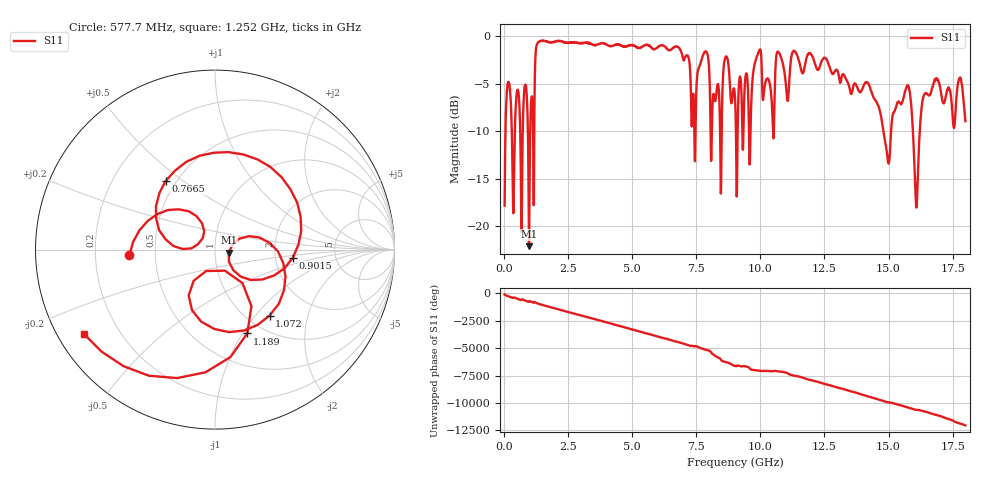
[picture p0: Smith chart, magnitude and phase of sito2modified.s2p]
! Rohde & Schwarz ZVA67 4Ports - Version 4.11 - 1305.7002k04 SN: 101038
! Date: 2024-04-02 02:00:44
! Points: 2000
! Params: S21
! Min freq: 2.000000E+007 Hz
! Max freq: 1.800000E+010 Hz
# HZ S DB R 50
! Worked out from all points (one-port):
!   2000 points, 20 MHz to 18 GHz, reference 50 ohm
!   lowest |S11| = -22.1 dB at 973.4 MHz (marker M1), VSWR 1.17, Z = 58.3 - j1.94 ohm
!   |S11| at or under -10 dB: 300.4 MHz to 419 MHz (118.6 MHz wide, 33 % of centre); 14.8 GHz to 15.1 GHz (297.2 MHz wide, 1.99 % of centre); 15.95 GHz to 16.22 GHz (266.7 MHz wide, 1.66 % of centre)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
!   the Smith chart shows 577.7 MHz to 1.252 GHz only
!   S11 on the Smith chart (normalised r, x): 577.7 MHz: 0.35, -0.03; 766.5 MHz: 0.44, +0.43; 901.5 MHz: 2.51, -0.27; 1.072 GHz: 1.25, -1.19; 1.189 GHz: 0.84, -1.05; 1.252 GHz: 0.08, -0.29
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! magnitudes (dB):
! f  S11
! 20 MHz  -17.8
! 154.9 MHz  -5.0
! 352.8 MHz  -18.1
! 577.7 MHz  -6.4
! 766.5 MHz  -6.5
! 901.5 MHz  -7.2
! 973.4 MHz  -22.1
! 1.072 GHz  -6.4
! 1.189 GHz  -6.0
! 1.252 GHz  -1.2
! 2.269 GHz  -0.6
! 4.517 GHz  -0.9
! 6.766 GHz  -1.1
! 7.386 GHz  -6.1
! 7.854 GHz  -1.6
! 8.124 GHz  -7.9
! 8.673 GHz  -2.1
! 9.014 GHz  -6.7
! 9.932 GHz  -1.7
! 10.47 GHz  -8.4
! 10.68 GHz  -1.6
! 11.26 GHz  -1.7
! 13.51 GHz  -5.9
! 14.98 GHz  -13.2
! 15.76 GHz  -5.2
! 16.08 GHz  -18.0
! 16.42 GHz  -6.1
! 18 GHz  -9.0
